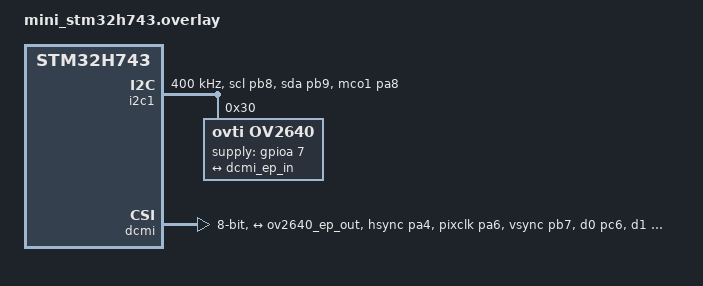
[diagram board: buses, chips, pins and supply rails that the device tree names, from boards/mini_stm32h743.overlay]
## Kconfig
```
source "Kconfig.zephyr"

config VIDEO_WIDTH
	int "Define the width of the video"
	default 160

config VIDEO_HEIGHT
	int "Define the height of the video"
	default 120
```

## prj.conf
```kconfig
CONFIG_VIDEO=y
# CONFIG_VIDEO_SW_GENERATOR=y
# CONFIG_SHELL=y
# CONFIG_DEVICE_SHELL=y
CONFIG_PRINTK=y
CONFIG_LOG=y

# Set up Enable the Master Clock Output 1 to 12MHz
CONFIG_CLOCK_STM32_MCO1_SRC_HSI48=y
CONFIG_CLOCK_STM32_MCO1_DIV=4

# Increase the log buffer size
# CONFIG_LOG_BUFFER_SIZE=2048
# CONFIG_VIDEO_BUFFER_POOL_SZ_MAX=204800

# Increase the current sctack size
CONFIG_MAIN_STACK_SIZE=8192
CONFIG_LOG_BUFFER_SIZE=40960
CONFIG_VIDEO_BUFFER_POOL_SZ_MAX=204800
CONFIG_LOG_MODE_IMMEDIATE=y

CONFIG_DMA=y
# CONFIG_DMA_STM32=y

################################################
# Configuration for debugging
# compiler
CONFIG_DEBUG_OPTIMIZATIONS=y

# console
CONFIG_CONSOLE=y

# UART console
CONFIG_SERIAL=y
CONFIG_UART_CONSOLE=y
```

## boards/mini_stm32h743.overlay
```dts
/*
 * Copyright (c) 2024 Charles Dias <charlesdias.cd@outlook.com>
 *
 * SPDX-License-Identifier: Apache-2.0
 *
 */

/ {
	aliases {
		ov-cam = &ov2640;
	};
};

&pll {
	div-m = <5>;
	mul-n = <96>;
	div-p = <2>;
	div-q = <2>;
	div-r = <2>;
	clocks = <&clk_hse>;
	status = "okay";
};

&rcc {
	clocks = <&pll>;
	clock-frequency = <DT_FREQ_M(240)>;
	d1cpre = <1>;
	hpre = <1>;
	d1ppre = <2>;
	d2ppre1 = <2>;
	d2ppre2 = <2>;
	d3ppre = <2>;
};

&i2c1 {
	pinctrl-0 = <&i2c1_scl_pb8 &i2c1_sda_pb9 &mco1_pa8>;
	pinctrl-names = "default";
	status = "okay";
	clock-frequency = <I2C_BITRATE_FAST>;

	ov2640: ov2640@30 {
		compatible = "ovti,ov2640";
		reg = <0x30>;
		status = "okay";
		supply-gpios = <&gpioa 7 GPIO_ACTIVE_HIGH>;
		clock-rate-control = <0x80>;

		port {
			ov2640_ep_out: endpoint {
				remote-endpoint = <&dcmi_ep_in>;
			};
		};
	};
};

&dcmi {
	status = "okay";
	sensor = <&ov2640>;
	pinctrl-0 = <&dcmi_hsync_pa4 &dcmi_pixclk_pa6 &dcmi_vsync_pb7
		&dcmi_d0_pc6 &dcmi_d1_pc7 &dcmi_d2_pe0 &dcmi_d3_pe1
		&dcmi_d4_pe4 &dcmi_d5_pd3 &dcmi_d6_pe5 &dcmi_d7_pe6>;
	pinctrl-names = "default";
	bus-width = <8>;
	hsync-active = <0>;
	vsync-active = <0>;
	pixelclk-active = <1>;
	capture-rate = <1>;
	dmas = <&dma1 0 75 (STM32_DMA_PERIPH_TO_MEMORY | STM32_DMA_PERIPH_NO_INC |
		STM32_DMA_MEM_INC | STM32_DMA_PERIPH_8BITS | STM32_DMA_MEM_32BITS |
		STM32_DMA_PRIORITY_HIGH) STM32_DMA_FIFO_1_4>;

	port {
		dcmi_ep_in: endpoint {
			remote-endpoint = <&ov2640_ep_out>;
		};
	};
};

&dma1 {
	status = "okay";
};

&dmamux1 {
	status = "okay";
};

&pinctrl{

	mco1_pa8: mco1_pa8 {
		pinmux = <STM32_PINMUX('A', 8, AF0)>;
		slew-rate = "very-high-speed";
	};

	/* DCMI_HSYNC */

	/omit-if-no-ref/ dcmi_hsync_pa4: dcmi_hsync_pa4 {
		pinmux = <STM32_PINMUX('A', 4, AF13)>;
		slew-rate = "very-high-speed";
	};

	/* DCMI_PIXCLK */

	/omit-if-no-ref/ dcmi_pixclk_pa6: dcmi_pixclk_pa6 {
		pinmux = <STM32_PINMUX('A', 6, AF13)>;
		slew-rate = "very-high-speed";
	};

	/* DCMI_VSYNC */

	/omit-if-no-ref/ dcmi_vsync_pb7: dcmi_vsync_pb7 {
		pinmux = <STM32_PINMUX('B', 7, AF13)>;
		slew-rate = "very-high-speed";
	};

	/* DCMI_D0 */

	/omit-if-no-ref/ dcmi_d0_pc6: dcmi_d0_pc6 {
		pinmux = <STM32_PINMUX('C', 6, AF13)>;
		slew-rate = "very-high-speed";
	};

	/* DCMI_D1 */

	/omit-if-no-ref/ dcmi_d1_pc7: dcmi_d1_pc7 {
		pinmux = <STM32_PINMUX('C', 7, AF13)>;
		slew-rate = "very-high-speed";
	};

	/* DCMI_D2 */

	/omit-if-no-ref/ dcmi_d2_pe0: dcmi_d2_pe0 {
		pinmux = <STM32_PINMUX('E', 0, AF13)>;
		slew-rate = "very-high-speed";
	};

	/* DCMI_D3 */

	/omit-if-no-ref/ dcmi_d3_pe1: dcmi_d3_pe1 {
		pinmux = <STM32_PINMUX('E', 1, AF13)>;
		slew-rate = "very-high-speed";
	};

	/* DCMI_D4 */

	/omit-if-no-ref/ dcmi_d4_pe4: dcmi_d4_pe4 {
		pinmux = <STM32_PINMUX('E', 4, AF13)>;
		slew-rate = "very-high-speed";
	};

	/* DCMI_D5 */

	/omit-if-no-ref/ dcmi_d5_pd3: dcmi_d5_pd3 {
		pinmux = <STM32_PINMUX('D', 3, AF13)>;
		slew-rate = "very-high-speed";
	};

	/* DCMI_D6 */

	/omit-if-no-ref/ dcmi_d6_pe5: dcmi_d6_pe5 {
		pinmux = <STM32_PINMUX('E', 5, AF13)>;
		slew-rate = "very-high-speed";
	};

	/* DCMI_D7 */

	/omit-if-no-ref/ dcmi_d7_pe6: dcmi_d7_pe6 {
		pinmux = <STM32_PINMUX('E', 6, AF13)>;
		slew-rate = "very-high-speed";
	};
};
```

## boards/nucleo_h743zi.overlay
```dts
/*
 * Copyright (c) 2022 Byte-Lab d.o.o. <dev@byte-lab.com>
 *
 * SPDX-License-Identifier: Apache-2.0
 *
 */

/ {
	aliases {
		ov-cam = &ov2640;
	};
};


&i2c1 {
	pinctrl-0 = <&i2c1_scl_pb8 &i2c1_sda_pb9>;
	pinctrl-names = "default";
	status = "okay";
	clock-frequency = <I2C_BITRATE_FAST>;

	ov2640: ov2640@30 {
		compatible = "ovti,ov2640";
		reg = <0x30>;
		status = "okay";
		reset-gpios = <&gpiof 2 GPIO_ACTIVE_HIGH>;
		supply-gpios = <&gpiof 3 GPIO_ACTIVE_HIGH>;

		port {
			ov2640_ep_out: endpoint {
				remote-endpoint = <&dcmi_ep_in>;
			};
		};
	};
};

&dcmi {
	status = "okay";
	sensor = <&ov2640>;
	pinctrl-0 = <&dcmi_hsync_pa4 &dcmi_pixclk_pa6 &dcmi_vsync_pb7
		&dcmi_d0_pc6 &dcmi_d1_pc7 &dcmi_d2_pe0 &dcmi_d3_pe1
		&dcmi_d4_pe4 &dcmi_d5_pd3 &dcmi_d6_pe5 &dcmi_d7_pe6>;
	pinctrl-names = "default";
	// dmas = <&dmamux1 0 37 (STM32_DMA_PERIPH_RX | STM32_DMA_PRIORITY_HIGH)>;
	// dma-names = "rx";

	port {
		dcmi_ep_in: endpoint {
			remote-endpoint = <&ov2640_ep_out>;
		};
	};
};

// &dmamux1 {
// 	status = "okay";
// };

&pinctrl{

	/* DCMI_HSYNC */

	/omit-if-no-ref/ dcmi_hsync_pa4: dcmi_hsync_pa4 {
		pinmux = <STM32_PINMUX('A', 4, AF13)>;
	};

	/* DCMI_PIXCLK */

	/omit-if-no-ref/ dcmi_pixclk_pa6: dcmi_pixclk_pa6 {
		pinmux = <STM32_PINMUX('A', 6, AF13)>;
	};

	/* DCMI_VSYNC */

	/omit-if-no-ref/ dcmi_vsync_pb7: dcmi_vsync_pb7 {
		pinmux = <STM32_PINMUX('B', 7, AF13)>;
	};

	/* DCMI_D0 */

	/omit-if-no-ref/ dcmi_d0_pc6: dcmi_d0_pc6 {
		pinmux = <STM32_PINMUX('C', 6, AF13)>;
	};

	/* DCMI_D1 */

	/omit-if-no-ref/ dcmi_d1_pc7: dcmi_d1_pc7 {
		pinmux = <STM32_PINMUX('C', 7, AF13)>;
	};

	/* DCMI_D2 */

	/omit-if-no-ref/ dcmi_d2_pe0: dcmi_d2_pe0 {
		pinmux = <STM32_PINMUX('E', 0, AF13)>;
	};

	/* DCMI_D3 */

	/omit-if-no-ref/ dcmi_d3_pe1: dcmi_d3_pe1 {
		pinmux = <STM32_PINMUX('E', 1, AF13)>;
	};

	/* DCMI_D4 */

	/omit-if-no-ref/ dcmi_d4_pe4: dcmi_d4_pe4 {
		pinmux = <STM32_PINMUX('E', 4, AF13)>;
	};

	/* DCMI_D5 */

	/omit-if-no-ref/ dcmi_d5_pd3: dcmi_d5_pd3 {
		pinmux = <STM32_PINMUX('D', 3, AF13)>;
	};

	/* DCMI_D6 */

	/omit-if-no-ref/ dcmi_d6_pe5: dcmi_d6_pe5 {
		pinmux = <STM32_PINMUX('E', 5, AF13)>;
	};

	/* DCMI_D7 */

	/omit-if-no-ref/ dcmi_d7_pe6: dcmi_d7_pe6 {
		pinmux = <STM32_PINMUX('E', 6, AF13)>;
	};
};
```

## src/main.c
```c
/*
 * Copyright (c) 2024 Charles Dias <charlesdias.cd@outlook.com>
 *
 * SPDX-License-Identifier: Apache-2.0
 */

#include <zephyr/kernel.h>
#include <zephyr/device.h>
#include <zephyr/drivers/display.h>
#include <zephyr/drivers/video.h>
#include <lvgl.h>

#define LOG_LEVEL CONFIG_LOG_DEFAULT_LEVEL
#include <zephyr/logging/log.h>
LOG_MODULE_REGISTER(main);

#define VIDEO_DEV_SW "VIDEO_SW_GENERATOR"

void draw_border_and_label(void)
{
	/*Create an array for the border points */
	static lv_point_t line_points[] = { {4, 0}, {156, 0}, {156, 72}, {4, 72}, {4, 0} };

	/*Create style*/
	static lv_style_t style_line;

	lv_style_init(&style_line);
	lv_style_set_line_width(&style_line, 4);
	lv_style_set_line_color(&style_line, lv_palette_main(LV_PALETTE_RED));
	lv_style_set_line_rounded(&style_line, true);

	/*Create a line and apply the new style */
	lv_obj_t *border = lv_line_create(lv_scr_act());
	int quant_points = ARRAY_SIZE(line_points);

	lv_line_set_points(border, line_points, quant_points);
	lv_obj_add_style(border, &style_line, 0);
	lv_obj_align(border, LV_ALIGN_BOTTOM_LEFT, 0, 0);

	lv_obj_t *label = lv_label_create(border);

	lv_label_set_text(label, "LVGL on Zephyr!");
	lv_obj_align(label, LV_ALIGN_BOTTOM_MID, 0, -10);

	lv_task_handler();
}

void draw_lvgl_logo(void)
{
	LV_IMG_DECLARE(img_lvgl_logo);
	lv_obj_t *img1 = lv_img_create(lv_scr_act());

	lv_img_set_src(img1, &img_lvgl_logo);
	lv_obj_align(img1, LV_ALIGN_TOP_MID, 0, 10);

	lv_task_handler();
}

void display_splash_screen(void)
{
	draw_border_and_label();
	draw_lvgl_logo();

	k_sleep(K_MSEC(5000));
	lv_obj_clean(lv_scr_act());
}

int main(void)
{
	const uint16_t WIDTH_VIDEO = CONFIG_VIDEO_WIDTH;
	const uint16_t HEIGHT_VIDEO = CONFIG_VIDEO_HEIGHT;
	const struct device *display_dev;
	struct video_format fmt;
	struct video_caps caps;
	const struct device *video;
	unsigned int frame = 0;
	size_t bsize;
	int i = 0;

	display_dev = DEVICE_DT_GET(DT_CHOSEN(zephyr_display));
	if (!device_is_ready(display_dev)) {
		LOG_ERR("Device not ready, aborting test");
		return 0;
	}

	/* Default to software video pattern generator */
	video = device_get_binding(VIDEO_DEV_SW);
	if (video == NULL) {
		LOG_ERR("Video device %s not found", VIDEO_DEV_SW);
		return 0;
	}

	/* But would be better to use a real video device if any */
#if defined(CONFIG_VIDEO_STM32_DCMI)
	struct video_buffer *buffers[2], *vbuf;
	const struct device *const dev = DEVICE_DT_GET_ONE(st_stm32_dcmi);

	if (!device_is_ready(dev)) {
		LOG_ERR("%s: device not ready.\n", dev->name);
		return 0;
	}

	video = dev;
#endif

	printk("- Device name: %s\n", video->name);

	/* Get capabilities */
	if (video_get_caps(video, VIDEO_EP_OUT, &caps)) {
		LOG_ERR("Unable to retrieve video capabilities");
		return 0;
	}

	printk("- Capabilities:\n");
	while (caps.format_caps[i].pixelformat) {
		const struct video_format_cap *fcap = &caps.format_caps[i];
		/* fourcc to string */
		printk("  %c%c%c%c width [%u; %u; %u] height [%u; %u; %u]\n",
		       (char)fcap->pixelformat,
		       (char)(fcap->pixelformat >> 8),
		       (char)(fcap->pixelformat >> 16),
		       (char)(fcap->pixelformat >> 24),
		       fcap->width_min, fcap->width_max, fcap->width_step,
		       fcap->height_min, fcap->height_max, fcap->height_step);
		i++;
	}

	/* Get default/native format */
	if (video_get_format(video, VIDEO_EP_OUT, &fmt)) {
		LOG_ERR("Unable to retrieve video format");
		return 0;
	}

	printk("- Default format: %c%c%c%c %ux%u\n", (char)fmt.pixelformat,
	       (char)(fmt.pixelformat >> 8),
	       (char)(fmt.pixelformat >> 16),
	       (char)(fmt.pixelformat >> 24),
	       fmt.width, fmt.height);

	/* Set format */
	fmt.width = WIDTH_VIDEO;
	fmt.height = HEIGHT_VIDEO;
	fmt.pitch = fmt.width * 2;

	if (video_set_format(video, VIDEO_EP_OUT, &fmt)) {
		LOG_ERR("Unable to set up video format");
		return 0;
	}

	/* Get format */
	if (video_get_format(video, VIDEO_EP_OUT, &fmt)) {
		LOG_ERR("Unable to retrieve video format");
		return 0;
	}

	printk("- New format: %c%c%c%c %ux%u %u\n", (char)fmt.pixelformat,
		(char)(fmt.pixelformat >> 8),
		(char)(fmt.pixelformat >> 16),
		(char)(fmt.pixelformat >> 24),
		fmt.width, fmt.height, fmt.pitch);

	/* Size to allocate for each buffer */
	bsize = fmt.pitch * fmt.height;

	/* Alloc video buffers and enqueue for capture */
	for (i = 0; i < ARRAY_SIZE(buffers); i++) {
		buffers[i] = video_buffer_alloc(bsize);
		if (buffers[i] == NULL) {
			LOG_ERR("Unable to alloc video buffer");
			return 0;
		}

		video_enqueue(video, VIDEO_EP_OUT, buffers[i]);
	}

	/* Start video capture */
	if (video_stream_start(video)) {
		LOG_ERR("Unable to start capture (interface)");
		return 0;
	}

	display_splash_screen();

	display_blanking_off(display_dev);

	const lv_img_dsc_t video_img = {
		.header.always_zero = 0,
		.header.w = WIDTH_VIDEO,
		.header.h = HEIGHT_VIDEO,
		.data_size = WIDTH_VIDEO * HEIGHT_VIDEO * sizeof(lv_color_t),
		.header.cf = LV_IMG_CF_TRUE_COLOR,
		.data = (const uint8_t *) buffers[0]->buffer,
	};

	lv_obj_t *screen = lv_img_create(lv_scr_act());

	printk("Capture started\n");

	/* Grab video frames */
	while (1) {
		int err;

		err = video_dequeue(video, VIDEO_EP_OUT, &vbuf, K_FOREVER);
		if (err) {
			LOG_ERR("Unable to dequeue video buf");
			return 0;
		}

		printk("\rGot frame %u! size: %u; timestamp %u ms",
		       frame++, vbuf->bytesused, vbuf->timestamp);

		lv_img_set_src(screen, &video_img);
		lv_obj_align(screen, LV_ALIGN_BOTTOM_LEFT, 0, 0);

		lv_task_handler();

		err = video_enqueue(video, VIDEO_EP_OUT, vbuf);
		if (err) {
			LOG_ERR("Unable to requeue video buf");
			return 0;
		}
	}
}
```
